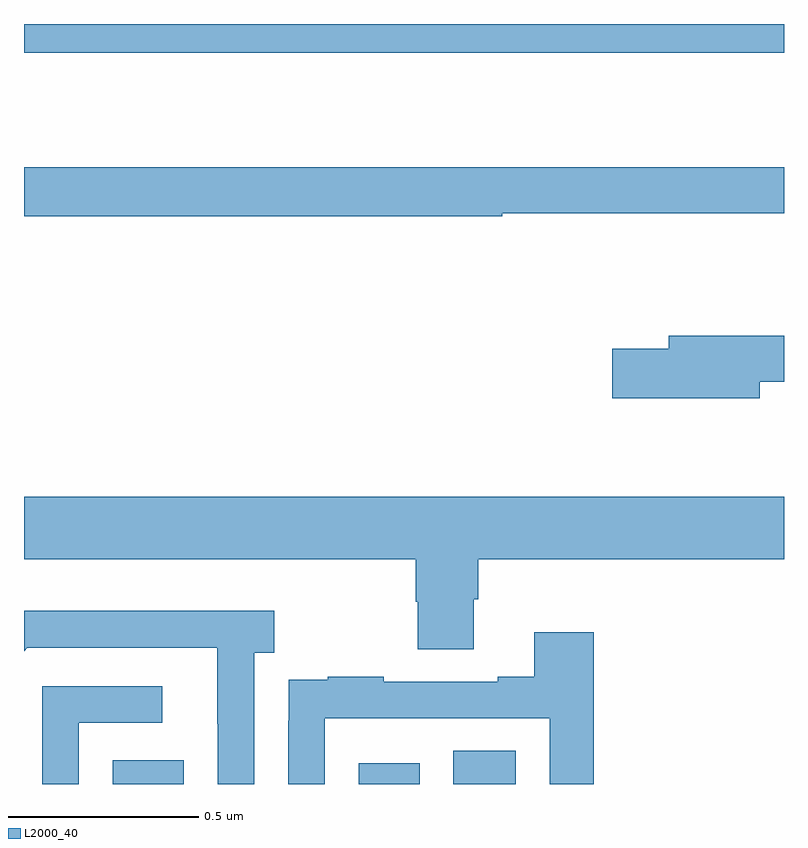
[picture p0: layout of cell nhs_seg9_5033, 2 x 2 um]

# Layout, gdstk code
import gdstk
lib = gdstk.Library(unit=1e-6, precision=1e-09)
def R(c, l, rs):  # rectangles x0, y0, x1, y1
    for r in rs: c.add(gdstk.rectangle(r[:2], r[2:], *l))
def P(c, l, *ps):  # polygons
    for p in ps: c.add(gdstk.Polygon(p, *l))
L2000_40 = (2000, 40)

nhs_seg9_5033 = lib.new_cell('nhs_seg9_5033')
R(nhs_seg9_5033, L2000_40, [(174.233,1190.5,174.421,1190.563), (174.881,1190.5,175.042,1190.554), (175.13,1190.5,175.294,1190.588), (174,1192.424,176,1192.5)])
P(nhs_seg9_5033, L2000_40, [(175.258,1192.002),(176,1192.002),(176,1192.123),(174,1192.123),(174,1191.994),(175.258,1191.994)],
  [(175.936,1191.558),(176,1191.558),(176,1191.679),(175.697,1191.679),(175.697,1191.645),(175.548,1191.645),(175.548,1191.515),(175.936,1191.515)],
  [(175.183,1190.986),(175.196,1190.986),(175.196,1191.092),(176,1191.092),(176,1191.256),(174,1191.256),(174,1191.092),(175.031,1191.092),(175.031,1190.979),(175.036,1190.979),(175.036,1190.854),(175.183,1190.854)],
  [(174.606,1190.846),(174.658,1190.846),(174.658,1190.956),(174,1190.956),(174,1190.85),(174.009,1190.859),(174.509,1190.859),(174.509,1190.659),(174.51,1190.659),(174.51,1190.5),(174.606,1190.5)],
  [(174.792,1190.673),(175.383,1190.673),(175.383,1190.5),(175.499,1190.5),(175.499,1190.899),(175.343,1190.899),(175.343,1190.782),(175.247,1190.782),(175.247,1190.769),(174.947,1190.769),(174.947,1190.782),(174.799,1190.782),(174.799,1190.775),(174.697,1190.775),(174.697,1190.666),(174.696,1190.666),(174.696,1190.5),(174.792,1190.5)],
  [(174.144,1190.661),(174.364,1190.661),(174.364,1190.757),(174.048,1190.757),(174.048,1190.5),(174.144,1190.5)])

lib.write_gds('nhs_seg9_5033.gds')
